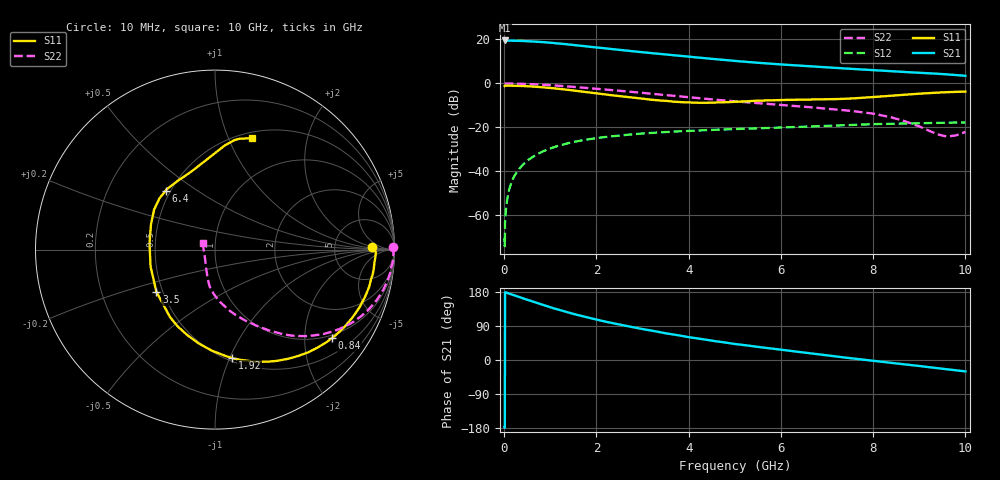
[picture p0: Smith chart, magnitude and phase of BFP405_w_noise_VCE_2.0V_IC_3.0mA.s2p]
! Infineon Technologies  Discrete & RF Semiconductors
! BFP405
! VCE =  2.0 V,  IC =  3.0 mA
! Common Emitter S-Parameters:  Jan 2016
# GHz  S  MA  R  50
!  f  S11  S21  S12  S22
! GHz  MAG  ANG  MAG  ANG  MAG  ANG  MAG  ANG
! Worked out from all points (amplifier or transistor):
!   233 points, 10 MHz to 10 GHz, reference 50 ohm
!   highest |S21| = 19.5 dB at 10 MHz (marker M1)
!   |S21| within 3 dB of that: start of sweep to 1.922 GHz
!   unconditionally stable (mu >= 1): 3.929 GHz to end of sweep
!   at 200 MHz: K = 0.05, MSG = 31.2 dB, |S12| = -43.0 dB
!   at 1.74 GHz: K = 0.41, MSG = 21.3 dB, |S12| = -25.7 dB
!   at 10 GHz: K = 1.57, MAG = 6.2 dB, |S12| = -17.7 dB
!   lowest NFmin = 0.98 dB at 900 MHz
!   S11 on the Smith chart (normalised r, x): 10 MHz: 15, +2; 840 MHz: 0.91, -2.71; 1.92 GHz: 0.53, -1.02; 3.5 GHz: 0.46, -0.26; 6.4 GHz: 0.47, +0.38; 10 GHz: 0.57, +1.23
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0.01  0.8763 1.0  9.495 -177.2  0.0003 -103.8  0.9939 0.7
0.015  0.8863 0.0  9.44 -179.2  0.0002 103.2  0.9932 0.3
0.02  0.8965 -0.9  9.397 178.7  0.0007 92.0  0.9926 -0.1
0.085  0.8924 -3.8  9.384 176.2  0.003 87.3  0.9946 -1.8
0.185  0.8898 -8.2  9.361 172.1  0.0066 86.0  0.992 -4.2
0.5  0.8662 -22.1  9.164 159.0  0.0174 79.1  0.9728 -11.3
0.84  0.8176 -37.0  8.702 145.3  0.0285 71.4  0.9359 -18.6
1.2  0.7522 -52.0  8.075 131.9  0.039 63.9  0.8848 -25.7
1.4  0.7127 -60.3  7.699 125.0  0.0442 60.0  0.8535 -29.3
1.68  0.6566 -71.4  7.168 116.0  0.0507 55.0  0.8081 -33.9
1.92  0.6118 -81.0  6.726 108.9  0.0557 51.3  0.7696 -37.5
2.2  0.5623 -92.0  6.25 101.1  0.0608 47.2  0.7265 -41.2
2.62  0.4989 -108.5  5.608 90.5  0.0675 41.8  0.6647 -46.3
3.4  0.4081 -139.7  4.654 72.9  0.0776 33.1  0.5573 -54.9
3.5  0.4027 -144.1  4.556 70.5  0.0789 32.1  0.5443 -56.1
4.3  0.3629 -177.3  3.787 54.9  0.0863 25.0  0.4541 -64.2
5.1  0.3865 156.0  3.19 40.9  0.0926 19.1  0.3848 -72.2
6.4  0.4279 130.1  2.548 21.2  0.1032 11.6  0.3017 -83.1
6.8  0.4323 122.0  2.394 15.2  0.1069 9.3  0.2783 -86.5
8.4  0.5284 91.3  1.893 -7.7  0.1213 -2.1  0.1685 -103.7
9.6  0.6333 77.4  1.609 -24.5  0.1281 -10.2  0.0621 -167.1
10  0.6545 71.4  1.492 -30.1  0.1299 -12.5  0.079 151.1
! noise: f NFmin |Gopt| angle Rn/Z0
0.9  0.98  0.49  14  0.37
1.8  1.3  0.39  24  0.34
2.4  1.48  0.33  33  0.33
3  1.51  0.31  50  0.31
4  1.71  0.19  75  0.25
5  2.06  0.14  114  0.21
